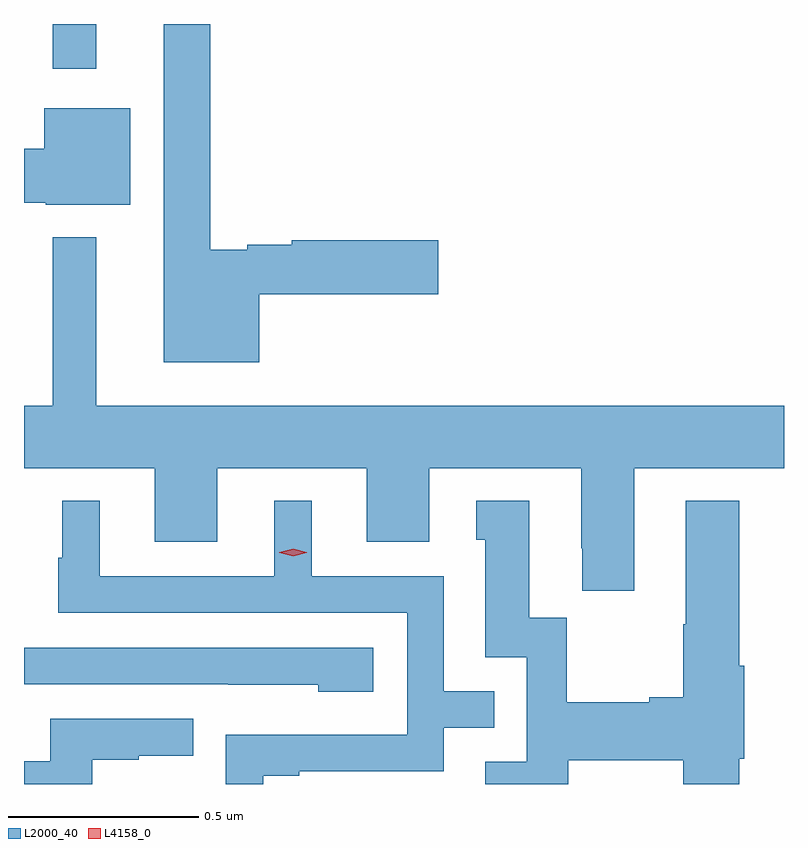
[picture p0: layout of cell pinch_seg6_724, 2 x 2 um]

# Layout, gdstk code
import gdstk
lib = gdstk.Library(unit=1e-6, precision=1e-09)
def R(c, l, rs):  # rectangles x0, y0, x1, y1
    for r in rs: c.add(gdstk.rectangle(r[:2], r[2:], *l))
def P(c, l, *ps):  # polygons
    for p in ps: c.add(gdstk.Polygon(p, *l))
L2000_40 = (2000, 40)
L4158_0 = (4158, 0)

pinch_seg6_724 = lib.new_cell('pinch_seg6_724')
R(pinch_seg6_724, L2000_40, [(381.391,928.407,381.505,928.525)])
P(pinch_seg6_724, L2000_40, [(381.934,927.814),(382.405,927.814),(382.405,927.956),(382.02,927.956),(382.02,927.944),(381.902,927.944),(381.902,927.931),(381.805,927.931),(381.805,928.525),(381.683,928.525),(381.683,927.635),(381.934,927.635)],
  [(381.595,928.303),(381.368,928.303),(381.368,928.197),(381.315,928.197),(381.315,928.055),(381.372,928.055),(381.372,928.049),(381.595,928.049)],
  [(382.921,927.356),(383.315,927.356),(383.315,927.52),(381.505,927.52),(381.505,927.964),(381.391,927.964),(381.391,927.52),(381.315,927.52),(381.315,927.356),(381.659,927.356),(381.659,927.162),(381.823,927.162),(381.823,927.356),(382.217,927.356),(382.217,927.162),(382.381,927.162),(382.381,927.356),(382.781,927.356),(382.781,927.145),(382.784,927.145),(382.784,927.033),(382.921,927.033)],
  [(382.747,926.588),(383.05,926.588),(383.05,926.525),(383.197,926.525),(383.197,926.592),(383.21,926.592),(383.21,926.836),(383.197,926.836),(383.197,927.271),(383.057,927.271),(383.057,926.945),(383.05,926.945),(383.05,926.753),(382.961,926.753),(382.961,926.74),(382.743,926.74),(382.743,926.963),(382.645,926.963),(382.645,927.271),(382.505,927.271),(382.505,927.168),(382.529,927.168),(382.529,926.859),(382.638,926.859),(382.638,926.583),(382.529,926.583),(382.529,926.525),(382.747,926.525)],
  [(381.945,926.547),(382.039,926.547),(382.039,926.559),(382.419,926.559),(382.419,926.673),(382.553,926.673),(382.553,926.769),(382.419,926.769),(382.419,927.072),(382.072,927.072),(382.072,927.271),(381.974,927.271),(381.974,927.072),(381.514,927.072),(381.514,927.271),(381.416,927.271),(381.416,927.12),(381.405,927.12),(381.405,926.976),(382.323,926.976),(382.323,926.655),(381.846,926.655),(381.846,926.525),(381.945,926.525)],
  [(382.234,926.883),(381.315,926.883),(381.315,926.787),(381.853,926.787),(381.853,926.786),(382.089,926.786),(382.089,926.768),(382.234,926.768)],
  [(381.494,926.589),(381.617,926.589),(381.617,926.6),(381.761,926.6),(381.761,926.697),(381.384,926.697),(381.384,926.585),(381.315,926.585),(381.315,926.525),(381.494,926.525)])
P(pinch_seg6_724, L4158_0, [(382.023,927.124),(381.987,927.134),(381.987,927.134),(381.987,927.135),(382.023,927.144),(382.059,927.135),(382.059,927.134),(382.059,927.134)])

lib.write_gds('pinch_seg6_724.gds')
